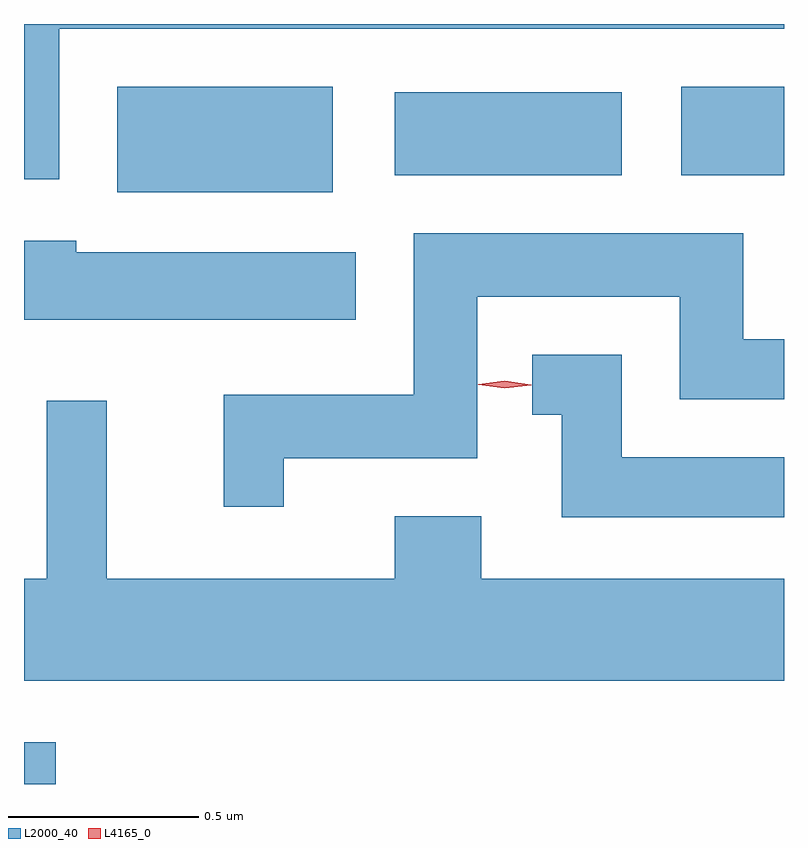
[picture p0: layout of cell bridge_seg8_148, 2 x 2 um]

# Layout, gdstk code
import gdstk
lib = gdstk.Library(unit=1e-6, precision=1e-09)
def R(c, l, rs):  # rectangles x0, y0, x1, y1
    for r in rs: c.add(gdstk.rectangle(r[:2], r[2:], *l))
def P(c, l, *ps):  # polygons
    for p in ps: c.add(gdstk.Polygon(p, *l))
L2000_40 = (2000, 40)
L4165_0 = (4165, 0)

bridge_seg8_148 = lib.new_cell('bridge_seg8_148')
R(bridge_seg8_148, L2000_40, [(1667.266,1811.724,1667.349,1811.834), (1667.511,1813.281,1668.079,1813.559), (1668.241,1813.326,1668.839,1813.544), (1668.996,1813.326,1669.266,1813.559)])
P(bridge_seg8_148, L2000_40, [(1667.359,1813.711),(1669.266,1813.711),(1669.266,1813.724),(1667.266,1813.724),(1667.266,1813.316),(1667.359,1813.316)],
  [(1667.949,1812.581),(1668.459,1812.581),(1668.459,1813.006),(1668.991,1813.006),(1668.991,1812.736),(1669.266,1812.736),(1669.266,1812.894),(1669.159,1812.894),(1669.159,1813.174),(1668.291,1813.174),(1668.291,1812.749),(1667.791,1812.749),(1667.791,1812.453),(1667.949,1812.453)],
  [(1668.139,1813.124),(1667.404,1813.124),(1667.404,1813.154),(1667.266,1813.154),(1667.266,1812.946),(1668.139,1812.946)],
  [(1669.266,1812.584),(1668.839,1812.584),(1668.839,1812.854),(1668.603,1812.854),(1668.603,1812.696),(1668.681,1812.696),(1668.681,1812.426),(1669.266,1812.426)],
  [(1669.266,1812.264),(1668.469,1812.264),(1668.469,1812.429),(1668.241,1812.429),(1668.241,1812.264),(1667.484,1812.264),(1667.484,1812.733),(1667.326,1812.733),(1667.326,1812.264),(1667.266,1812.264),(1667.266,1811.996),(1669.266,1811.996)])
P(bridge_seg8_148, L4165_0, [(1668.531,1812.765),(1668.462,1812.775),(1668.462,1812.775),(1668.462,1812.776),(1668.531,1812.785),(1668.601,1812.775),(1668.601,1812.775),(1668.601,1812.774)])

lib.write_gds('bridge_seg8_148.gds')
